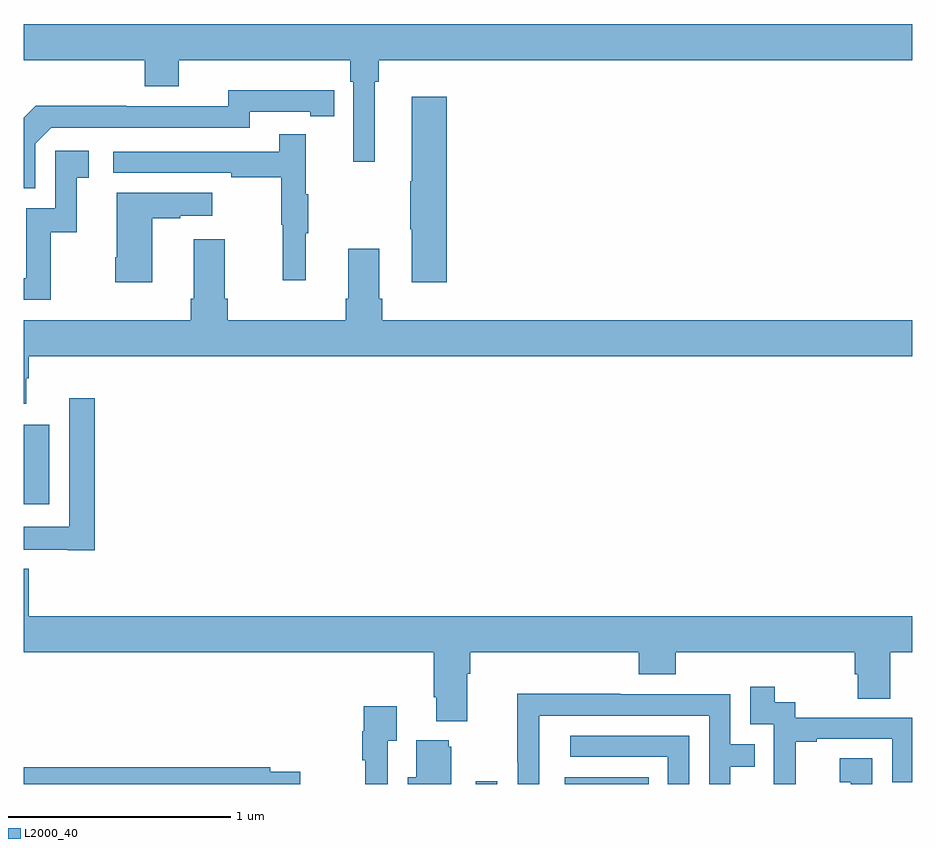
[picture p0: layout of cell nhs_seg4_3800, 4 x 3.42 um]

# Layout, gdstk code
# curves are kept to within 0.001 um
import gdstk
lib = gdstk.Library(unit=1e-6, precision=1e-09)
def R(c, l, rs):  # rectangles x0, y0, x1, y1
    for r in rs: c.add(gdstk.rectangle(r[:2], r[2:], *l))
def P(c, l, *ps):  # polygons
    for p in ps: c.add(gdstk.Polygon(p, *l))
L2000_40 = (2000, 40)

nhs_seg4_3800 = lib.new_cell('nhs_seg4_3800')
R(nhs_seg4_3800, L2000_40, [(313.035,790.9,313.131,790.912), (313.436,790.9,313.814,790.93), (311,792.158,311.116,792.517)])
P(nhs_seg4_3800, L2000_40, [(312.58,794.06),(312.599,794.06),(312.599,794.156),(315,794.156),(315,794.32),(311,794.32),(311,794.156),(311.546,794.156),(311.546,794.039),(311.698,794.039),(311.698,794.156),(312.47,794.156),(312.47,794.06),(312.483,794.06),(312.483,793.701),(312.58,793.701)],
  [(311.052,793.782),(311.124,793.854),(312.018,793.854),(312.018,793.926),(312.29,793.926),(312.29,793.906),(312.398,793.906),(312.398,794.022),(311.922,794.023),(311.922,793.95),(311.462,793.95),(311.462,793.952),(311.054,793.952),(311,793.898),(311,793.581),(311.052,793.581)],
  [(312.905,793.993),(312.746,793.993),(312.746,793.613),(312.739,793.613),(312.739,793.396),(312.746,793.396),(312.746,793.158),(312.905,793.158)],
  [(312.269,793.379),(312.28,793.379),(312.28,793.553),(312.269,793.553),(312.269,793.825),(312.151,793.825),(312.151,793.746),(311.403,793.746),(311.403,793.65),(311.935,793.65),(311.935,793.63),(312.159,793.63),(312.159,793.416),(312.166,793.416),(312.166,793.167),(312.269,793.167)],
  [(311.122,793.383),(311.24,793.383),(311.24,793.629),(311.293,793.629),(311.293,793.75),(311.142,793.75),(311.142,793.491),(311.013,793.491),(311.013,793.176),(311,793.176),(311,793.08),(311.122,793.08)],
  [(311.578,793.447),(311.705,793.447),(311.705,793.457),(311.848,793.457),(311.848,793.561),(311.42,793.561),(311.42,793.27),(311.413,793.27),(311.413,793.158),(311.578,793.158)],
  [(311.011,792.726),(311.024,792.726),(311.024,792.824),(315,792.824),(315,792.988),(312.614,792.988),(312.614,793.084),(312.601,793.084),(312.601,793.309),(312.461,793.309),(312.461,793.084),(312.449,793.084),(312.449,792.988),(311.918,792.988),(311.918,793.084),(311.905,793.084),(311.905,793.351),(311.765,793.351),(311.765,793.084),(311.753,793.084),(311.753,792.988),(311,792.988),(311,792.612),(311.011,792.612)],
  [(311.321,792.637),(311.205,792.637),(311.205,792.058),(311,792.058),(311,791.954),(311.198,791.954),(311.198,791.952),(311.321,791.952)],
  [(312.997,791.396),(313.01,791.396),(313.01,791.492),(313.769,791.492),(313.769,791.393),(313.934,791.393),(313.934,791.492),(314.741,791.492),(314.741,791.394),(314.753,791.394),(314.753,791.284),(314.901,791.284),(314.901,791.492),(315,791.492),(315,791.656),(311.024,791.656),(311.024,791.869),(311,791.869),(311,791.492),(312.845,791.492),(312.845,791.29),(312.857,791.29),(312.857,791.183),(312.997,791.183)],
  [(314.474,791.091),(314.569,791.091),(314.569,791.103),(314.91,791.103),(314.91,790.908),(315,790.908),(315,791.199),(314.472,791.199),(314.472,791.268),(314.38,791.268),(314.38,791.338),(314.271,791.338),(314.271,791.169),(314.376,791.169),(314.376,790.94),(314.375,790.94),(314.375,790.9),(314.474,790.9)],
  [(313.32,791.208),(314.085,791.208),(314.085,790.9),(314.181,790.9),(314.181,790.978),(314.291,790.978),(314.291,791.079),(314.181,791.079),(314.181,791.304),(313.685,791.304),(313.685,791.306),(313.222,791.306),(313.222,790.999),(313.224,790.999),(313.224,790.9),(313.32,790.9)],
  [(312.639,791.095),(312.679,791.095),(312.679,791.251),(312.531,791.251),(312.531,791.138),(312.523,791.138),(312.523,791.006),(312.538,791.006),(312.538,790.9),(312.639,790.9)],
  [(313.995,791.118),(313.461,791.118),(313.461,791.022),(313.899,791.022),(313.899,790.9),(313.995,790.9)],
  [(312.925,791.067),(312.914,791.067),(312.914,791.098),(312.767,791.098),(312.767,790.93),(312.728,790.93),(312.728,790.9),(312.925,790.9)],
  [(314.82,791.017),(314.673,791.017),(314.673,790.907),(314.722,790.907),(314.722,790.9),(314.82,790.9)],
  [(312.244,790.956),(312.11,790.956),(312.11,790.976),(311,790.976),(311,790.9),(312.244,790.9)])

lib.write_gds('nhs_seg4_3800.gds')
